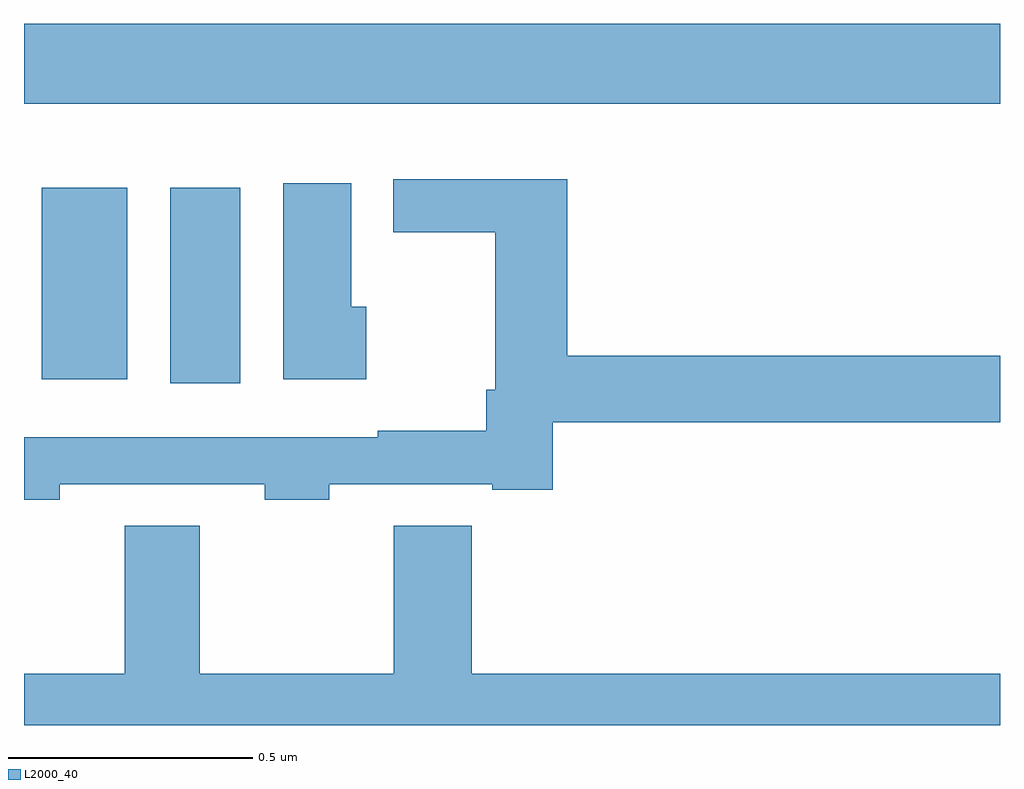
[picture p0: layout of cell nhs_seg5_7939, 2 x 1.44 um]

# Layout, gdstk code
import gdstk
lib = gdstk.Library(unit=1e-6, precision=1e-09)
def R(c, l, rs):  # rectangles x0, y0, x1, y1
    for r in rs: c.add(gdstk.rectangle(r[:2], r[2:], *l))
def P(c, l, *ps):  # polygons
    for p in ps: c.add(gdstk.Polygon(p, *l))
L2000_40 = (2000, 40)

nhs_seg5_7939 = lib.new_cell('nhs_seg5_7939')
R(nhs_seg5_7939, L2000_40, [(215.3,877.5,215.443,877.9), (215.036,877.508,215.212,877.9), (215,878.072,217,878.236)])
P(nhs_seg5_7939, L2000_40, [(215.073,877.293),(215.493,877.293),(215.493,877.261),(215.625,877.261),(215.625,877.293),(215.96,877.293),(215.96,877.281),(216.083,877.281),(216.083,877.42),(217,877.42),(217,877.556),(216.113,877.556),(216.113,877.918),(215.757,877.918),(215.757,877.809),(215.966,877.809),(215.966,877.486),(215.947,877.486),(215.947,877.402),(215.725,877.402),(215.725,877.389),(215,877.389),(215,877.261),(215.073,877.261)],
  [(215.701,877.656),(215.671,877.656),(215.671,877.909),(215.531,877.909),(215.531,877.508),(215.701,877.508)],
  [(217,876.904),(215.918,876.904),(215.918,877.208),(215.758,877.208),(215.758,876.904),(215.36,876.904),(215.36,877.208),(215.206,877.208),(215.206,876.904),(215,876.904),(215,876.799),(217,876.799)])

lib.write_gds('nhs_seg5_7939.gds')
